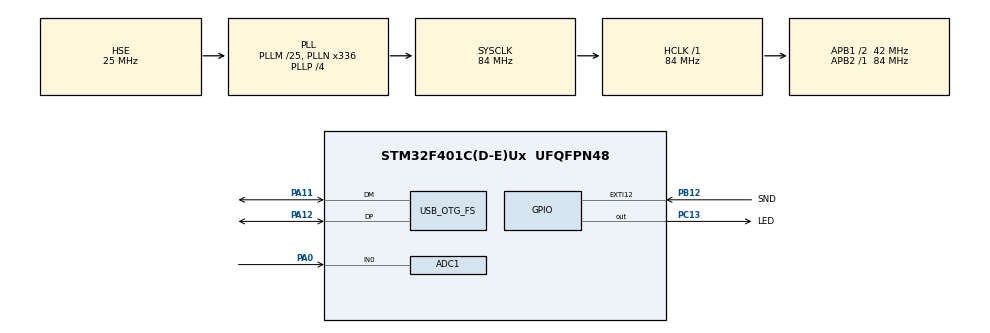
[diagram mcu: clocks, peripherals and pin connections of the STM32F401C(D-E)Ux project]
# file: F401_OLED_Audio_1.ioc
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ADC1.Channel-0\#ChannelRegularConversion=ADC_CHANNEL_0
ADC1.ClockPrescaler=ADC_CLOCK_SYNC_PCLK_DIV8
ADC1.NbrOfConversionFlag=1
ADC1.Rank-0\#ChannelRegularConversion=1
ADC1.SamplingTime-0\#ChannelRegularConversion=ADC_SAMPLETIME_3CYCLES
ADC1.master=1
Mcu.Family=STM32F4
Mcu.Name=STM32F401C(D-E)Ux
Mcu.Package=UFQFPN48
NVIC.EXTI15_10_IRQn=true\:5\:0\:true\:false\:true\:true\:true\:true
NVIC.OTG_FS_IRQn=true\:0\:0\:false\:false\:true\:false\:true\:true
NVIC.PriorityGroup=NVIC_PRIORITYGROUP_4
PA0-WKUP.Signal=ADCx_IN0
PA11.Mode=Device_Only
PA11.Signal=USB_OTG_FS_DM
PA12.Mode=Device_Only
PA12.Signal=USB_OTG_FS_DP
PA13.Mode=Serial_Wire
PA13.Signal=SYS_JTMS-SWDIO
PA14.Mode=Serial_Wire
PA14.Signal=SYS_JTCK-SWCLK
PB12.GPIO_Label=SND
PB12.GPIO_ModeDefaultEXTI=GPIO_MODE_IT_FALLING
PB12.Signal=GPXTI12
PC13-ANTI_TAMP.GPIO_Label=LED
PC13-ANTI_TAMP.Signal=GPIO_Output
PH0\ -\ OSC_IN.Mode=HSE-External-Oscillator
PH0\ -\ OSC_IN.Signal=RCC_OSC_IN
PH1\ -\ OSC_OUT.Mode=HSE-External-Oscillator
PH1\ -\ OSC_OUT.Signal=RCC_OSC_OUT
ProjectManager.HeapSize=0x200
ProjectManager.StackSize=0x400
ProjectManager.TargetToolchain=STM32CubeIDE
RCC.48MHZClocksFreq_Value=48000000
RCC.AHBFreq_Value=84000000
RCC.APB1CLKDivider=RCC_HCLK_DIV2
RCC.APB1Freq_Value=42000000
RCC.APB1TimFreq_Value=84000000
RCC.APB2Freq_Value=84000000
RCC.APB2TimFreq_Value=84000000
RCC.CortexFreq_Value=84000000
RCC.HCLKFreq_Value=84000000
RCC.HSE_VALUE=25000000
RCC.HSI_VALUE=16000000
RCC.LSE_VALUE=32768
RCC.PLLM=25
RCC.PLLN=336
RCC.PLLP=RCC_PLLP_DIV4
RCC.PLLQ=7
RCC.SYSCLKFreq_VALUE=84000000
RCC.SYSCLKSource=RCC_SYSCLKSOURCE_PLLCLK
RCC.VCOOutputFreq_Value=336000000
SH.ADCx_IN0.0=ADC1_IN0,IN0
USB_DEVICE.CLASS_NAME_FS=CDC
USB_DEVICE.VirtualMode-CDC_FS=Cdc
USB_DEVICE.VirtualModeFS=Cdc_FS
USB_OTG_FS.VirtualMode=Device_Only
VP_ADC1_TempSens_Input.Mode=IN-TempSens
VP_ADC1_Vref_Input.Mode=IN-Vrefint
VP_USB_DEVICE_VS_USB_DEVICE_CDC_FS.Mode=CDC_FS
board=custom

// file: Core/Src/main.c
/* USER CODE BEGIN Header */
/**
  ******************************************************************************
  * @file           : main.c
  * @brief          : Main program body
  ******************************************************************************
  * @attention
  *
  * Copyright (c) 2022 STMicroelectronics.
  * All rights reserved.
  *
  * This software is licensed under terms that can be found in the LICENSE file
  * in the root directory of this software component.
  * If no LICENSE file comes with this software, it is provided AS-IS.
  *
  ******************************************************************************
  */
/* USER CODE END Header */
#include "main.h"
#include "usb_device.h"

/* USER CODE BEGIN Includes */
#include"usbd_cdc_if.h"
#include "fft_stm32.h"
#include <string.h>
#include <stdio.h>
#include "adcFC.h"
/* USER CODE END Includes */

ADC_HandleTypeDef hadc1;

/* USER CODE BEGIN PV */
float result;
char buffer[80];
volatile char snd_pin_activated;
uint32_t ticks, actualTick, previousTick;
void func_test_fft(void);
void clearBuffer(char *bu);
void creaData(void);
/*
These values can be changed in order to evaluate the functions
*/
#define NUMSAMPLES 64
uint16_t mysamples = NUMSAMPLES; //This value MUST ALWAYS be a power of 2
double mysignalFrequency = 1000;
double sampfrequency = 5000;
uint8_t myamplitude = 100;

/*
These are the input and output vectors
Input vectors receive computed results from FFT
*/
double varReal1[NUMSAMPLES];
double varImag1[NUMSAMPLES];

/* USER CODE END PV */

void SystemClock_Config(void);
static void MX_GPIO_Init(void);
static void MX_ADC1_Init(void);

int main(void)
{

  /* MCU Configuration--------------------------------------------------------*/

  /* Reset of all peripherals, Initializes the Flash interface and the Systick. */
  HAL_Init();

  /* Configure the system clock */
  SystemClock_Config();

  /* Initialize all configured peripherals */
  MX_GPIO_Init();
  MX_ADC1_Init();
  MX_USB_DEVICE_Init();
  /* USER CODE BEGIN 2 */
  previousTick = HAL_GetTick();

  /* USER CODE END 2 */

  /* Infinite loop */
  while (1)
  {

    /* USER CODE BEGIN 3 */
	 // creaData();
	 // func_test_fft();
	 // HAL_GPIO_TogglePin(LED_GPIO_Port, LED_Pin);
	  if (snd_pin_activated){
		 snd_pin_activated=0;
		 HAL_GPIO_TogglePin(LED_GPIO_Port, LED_Pin);
//		 clearBuffer(buffer);
//		 sprintf(buffer,"%s", "Computed magnitudes: \r\n");
//		 CDC_Transmit_FS(buffer, strlen(buffer));
	  }
	  HAL_Delay(200);
	  /*
	  result = AdcRead(0, 100)* FMULT;
	  sprintf(buffer,"Temp: %.2f Cent \r\n", result);
	  CDC_Transmit_FS(buffer, strlen(buffer));

	  HAL_Delay(400);
	  actualTick = HAL_GetTick();
	  ticks = actualTick - previousTick;
	  previousTick = HAL_GetTick();
	  sprintf(buffer,"Ticks: %ld \r\n", ticks);
	  CDC_Transmit_FS(buffer, strlen(buffer));
	   */

  }
  /* USER CODE END 3 */
}

void SystemClock_Config(void)
{
  RCC_OscInitTypeDef RCC_OscInitStruct = {0};
  RCC_ClkInitTypeDef RCC_ClkInitStruct = {0};

  /** Configure the main internal regulator output voltage
  */
  __HAL_RCC_PWR_CLK_ENABLE();
  __HAL_PWR_VOLTAGESCALING_CONFIG(PWR_REGULATOR_VOLTAGE_SCALE2);

  /** Initializes the RCC Oscillators according to the specified parameters
  * in the RCC_OscInitTypeDef structure.
  */
  RCC_OscInitStruct.OscillatorType = RCC_OSCILLATORTYPE_HSE;
  RCC_OscInitStruct.HSEState = RCC_HSE_ON;
  RCC_OscInitStruct.PLL.PLLState = RCC_PLL_ON;
  RCC_OscInitStruct.PLL.PLLSource = RCC_PLLSOURCE_HSE;
  RCC_OscInitStruct.PLL.PLLM = 25;
  RCC_OscInitStruct.PLL.PLLN = 336;
  RCC_OscInitStruct.PLL.PLLP = RCC_PLLP_DIV4;
  RCC_OscInitStruct.PLL.PLLQ = 7;
  if (HAL_RCC_OscConfig(&RCC_OscInitStruct) != HAL_OK)
  {
    Error_Handler();
  }

  /** Initializes the CPU, AHB and APB buses clocks
  */
  RCC_ClkInitStruct.ClockType = RCC_CLOCKTYPE_HCLK|RCC_CLOCKTYPE_SYSCLK
                              |RCC_CLOCKTYPE_PCLK1|RCC_CLOCKTYPE_PCLK2;
  RCC_ClkInitStruct.SYSCLKSource = RCC_SYSCLKSOURCE_PLLCLK;
  RCC_ClkInitStruct.AHBCLKDivider = RCC_SYSCLK_DIV1;
  RCC_ClkInitStruct.APB1CLKDivider = RCC_HCLK_DIV2;
  RCC_ClkInitStruct.APB2CLKDivider = RCC_HCLK_DIV1;

  if (HAL_RCC_ClockConfig(&RCC_ClkInitStruct, FLASH_LATENCY_2) != HAL_OK)
  {
    Error_Handler();
  }
}

static void MX_ADC1_Init(void)
{

  ADC_ChannelConfTypeDef sConfig = {0};

  /** Configure the global features of the ADC (Clock, Resolution, Data Alignment and number of conversion)
  */
  hadc1.Instance = ADC1;
  hadc1.Init.ClockPrescaler = ADC_CLOCK_SYNC_PCLK_DIV8;
  hadc1.Init.Resolution = ADC_RESOLUTION_12B;
  hadc1.Init.ScanConvMode = DISABLE;
  hadc1.Init.ContinuousConvMode = DISABLE;
  hadc1.Init.DiscontinuousConvMode = DISABLE;
  hadc1.Init.ExternalTrigConvEdge = ADC_EXTERNALTRIGCONVEDGE_NONE;
  hadc1.Init.ExternalTrigConv = ADC_SOFTWARE_START;
  hadc1.Init.DataAlign = ADC_DATAALIGN_RIGHT;
  hadc1.Init.NbrOfConversion = 1;
  hadc1.Init.DMAContinuousRequests = DISABLE;
  hadc1.Init.EOCSelection = ADC_EOC_SINGLE_CONV;
  if (HAL_ADC_Init(&hadc1) != HAL_OK)
  {
    Error_Handler();
  }

  /** Configure for the selected ADC regular channel its corresponding rank in the sequencer and its sample time.
  */
  sConfig.Channel = ADC_CHANNEL_0;
  sConfig.Rank = 1;
  sConfig.SamplingTime = ADC_SAMPLETIME_3CYCLES;
  if (HAL_ADC_ConfigChannel(&hadc1, &sConfig) != HAL_OK)
  {
    Error_Handler();
  }

}

static void MX_GPIO_Init(void)
{
  GPIO_InitTypeDef GPIO_InitStruct = {0};

  /* GPIO Ports Clock Enable */
  __HAL_RCC_GPIOC_CLK_ENABLE();
  __HAL_RCC_GPIOH_CLK_ENABLE();
  __HAL_RCC_GPIOA_CLK_ENABLE();
  __HAL_RCC_GPIOB_CLK_ENABLE();

  /*Configure GPIO pin Output Level */
  HAL_GPIO_WritePin(LED_GPIO_Port, LED_Pin, GPIO_PIN_RESET);

  /*Configure GPIO pin : LED_Pin */
  GPIO_InitStruct.Pin = LED_Pin;
  GPIO_InitStruct.Mode = GPIO_MODE_OUTPUT_PP;
  GPIO_InitStruct.Pull = GPIO_NOPULL;
  GPIO_InitStruct.Speed = GPIO_SPEED_FREQ_LOW;
  HAL_GPIO_Init(LED_GPIO_Port, &GPIO_InitStruct);

  /*Configure GPIO pin : SND_Pin */
  GPIO_InitStruct.Pin = SND_Pin;
  GPIO_InitStruct.Mode = GPIO_MODE_IT_FALLING;
  GPIO_InitStruct.Pull = GPIO_NOPULL;
  HAL_GPIO_Init(SND_GPIO_Port, &GPIO_InitStruct);

  /* EXTI interrupt init*/
  HAL_NVIC_SetPriority(EXTI15_10_IRQn, 5, 0);
  HAL_NVIC_EnableIRQ(EXTI15_10_IRQn);

}

/* USER CODE BEGIN 4 */

void HAL_GPIO_EXTI_Callback(uint16_t GPIO_Pin){
	snd_pin_activated=1;
}

void func_test_fft(){
	previousTick = HAL_GetTick();

/******* Sent to USB Input Real Data *******************
	clearBuffer(buffer);
	sprintf(buffer,"%s", "Data: \r\n");
	CDC_Transmit_FS(buffer, strlen(buffer));
	PrintVector(varReal1, mysamples, SCL_TIME, mysamples, sampfrequency);
*/

	Windowing(varReal1, mysamples, FFT_WIN_TYP_HAMMING, FFT_FORWARD);

/********* Sent to USB Weighted (after windowing) Input Data
//	clearBuffer(buffer);
//	sprintf(buffer,"%s", "Weighed data: \r\n");
//	CDC_Transmit_FS(buffer, strlen(buffer));
//	PrintVector(varReal1, mysamples, SCL_TIME, mysamples, sampfrequency);
*/

	ComputeFFT(varReal1, varImag1, mysamples, FFT_FORWARD);

/******** Sent to USB computed FFT Real & Imaginary Data
	clearBuffer(buffer);
	sprintf(buffer,"%s", "Computed Real values: \r\n");
	CDC_Transmit_FS(buffer, strlen(buffer));
	PrintVector(varReal1, mysamples, SCL_INDEX, mysamples, sampfrequency);

	clearBuffer(buffer);
	sprintf(buffer,"%s", "Computed Imaginary values: \r\n");
	CDC_Transmit_FS(buffer, strlen(buffer));
	PrintVector(varImag1, mysamples, SCL_INDEX, mysamples, sampfrequency);
*/

	ComplexToMagnitude(varReal1, varImag1, mysamples);

	actualTick =  HAL_GetTick();
	ticks = actualTick - previousTick;

/******* Sent to USB Computed magnitudes **********/
	clearBuffer(buffer);
	sprintf(buffer,"%s", "Computed magnitudes: \r\n");
	CDC_Transmit_FS(buffer, strlen(buffer));
	PrintVector(varReal1, (mysamples >> 1), SCL_FREQUENCY, mysamples, sampfrequency);

	double x = MajorPeak(varReal1, mysamples, sampfrequency);

/******* Sent to USB Major Peak detected ********/
	clearBuffer(buffer);
	sprintf(buffer,"Major Peak:  %0.2f \r\n Ticks = %ld \r\n -----------------------\r\n", x, ticks);
	CDC_Transmit_FS(buffer, strlen(buffer));
}

void clearBuffer(char *bu){
	memset(bu, 0, 50);
}

void creaData(void){
 /* Build raw data */
	double cycles = (((mysamples-1) * mysignalFrequency) / sampfrequency); //Number of signal cycles that the sampling will read
	for (uint16_t i = 0; i < mysamples; i++)
	{
	  varReal1[i] = (myamplitude * (sin((i * (twoPi * cycles)) / mysamples))) / 2.0;/* Build data with positive and negative values*/
	  //vReal[i] = uint8_t((amplitude * (sin((i * (twoPi * cycles)) / samples) + 1.0)) / 2.0);/* Build data displaced on the Y axis to include only positive values*/
	  varImag1[i] = 0.0; //Imaginary part must be zeroed in case of looping to avoid wrong calculations and overflows
	}
}

/* USER CODE END 4 */

void Error_Handler(void)
{
  __disable_irq();
  while (1)
  {
  }
}
